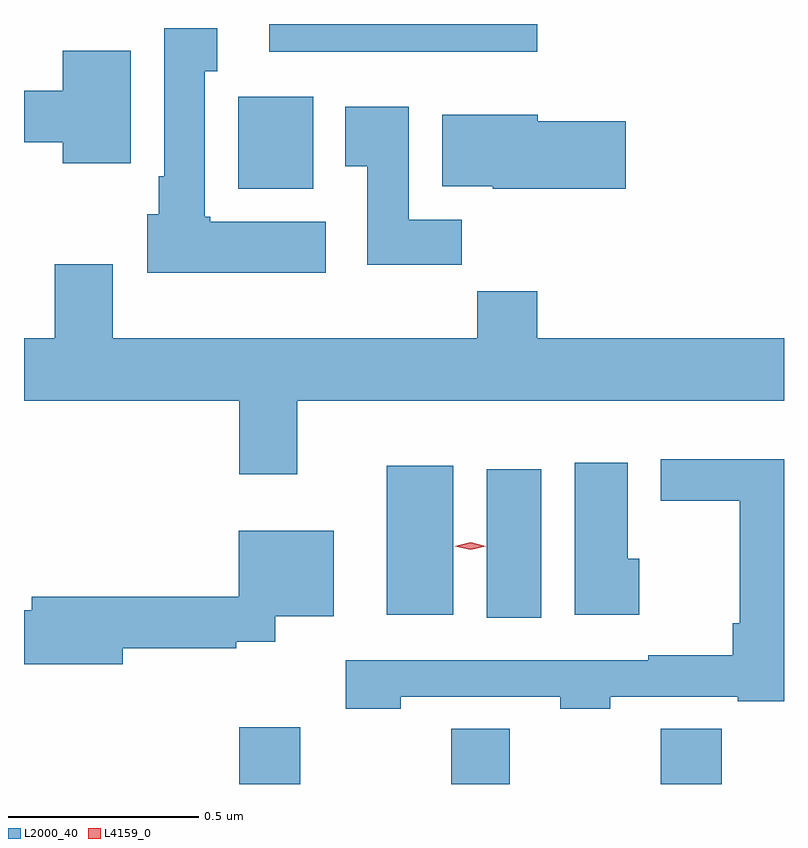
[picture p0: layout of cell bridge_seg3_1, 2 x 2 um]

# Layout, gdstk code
import gdstk
lib = gdstk.Library(unit=1e-6, precision=1e-09)
def R(c, l, rs):  # rectangles x0, y0, x1, y1
    for r in rs: c.add(gdstk.rectangle(r[:2], r[2:], *l))
def P(c, l, *ps):  # polygons
    for p in ps: c.add(gdstk.Polygon(p, *l))
L2000_40 = (2000, 40)
L4159_0 = (4159, 0)

bridge_seg3_1 = lib.new_cell('bridge_seg3_1')
R(bridge_seg3_1, L2000_40, [(1018.955,733.207,1019.115,733.357), (1019.512,733.207,1019.666,733.352), (1020.064,733.207,1020.224,733.352), (1019.606,733.644,1019.749,734.035), (1019.342,733.652,1019.518,734.044), (1018.952,734.774,1019.149,735.016), (1019.033,735.134,1019.738,735.207)])
P(bridge_seg3_1, L2000_40, [(1019.182,734.686),(1018.878,734.686),(1018.878,734.7),(1018.864,734.7),(1018.864,735.083),(1018.897,735.083),(1018.897,735.196),(1018.757,735.196),(1018.757,734.806),(1018.742,734.806),(1018.742,734.706),(1018.712,734.706),(1018.712,734.552),(1019.182,734.552)],
  [(1018.669,735.136),(1018.49,735.136),(1018.49,735.032),(1018.388,735.032),(1018.388,734.896),(1018.49,734.896),(1018.49,734.84),(1018.669,734.84)],
  [(1019.54,734.692),(1019.401,734.692),(1019.401,734.989),(1019.234,734.989),(1019.234,734.833),(1019.291,734.833),(1019.291,734.574),(1019.54,734.574)],
  [(1019.971,734.951),(1019.74,734.951),(1019.74,734.968),(1019.489,734.968),(1019.489,734.78),(1019.622,734.78),(1019.622,734.774),(1019.971,734.774)],
  [(1019.107,734.216),(1020.388,734.216),(1020.388,734.38),(1019.738,734.38),(1019.738,734.504),(1019.581,734.504),(1019.581,734.38),(1018.621,734.38),(1018.621,734.575),(1018.469,734.575),(1018.469,734.38),(1018.388,734.38),(1018.388,734.216),(1018.955,734.216),(1018.955,734.022),(1019.107,734.022)],
  [(1019.379,733.437),(1019.799,733.437),(1019.799,733.405),(1019.931,733.405),(1019.931,733.437),(1020.266,733.437),(1020.266,733.425),(1020.388,733.425),(1020.388,734.062),(1020.063,734.062),(1020.063,733.953),(1020.272,733.953),(1020.272,733.63),(1020.253,733.63),(1020.253,733.546),(1020.031,733.546),(1020.031,733.533),(1019.235,733.533),(1019.235,733.405),(1019.379,733.405)],
  [(1020.007,733.8),(1019.977,733.8),(1019.977,734.053),(1019.837,734.053),(1019.837,733.652),(1020.007,733.652)],
  [(1018.648,733.564),(1018.946,733.564),(1018.946,733.582),(1019.049,733.582),(1019.049,733.649),(1019.203,733.649),(1019.203,733.873),(1018.953,733.873),(1018.953,733.7),(1018.409,733.7),(1018.409,733.664),(1018.388,733.664),(1018.388,733.522),(1018.648,733.522)])
P(bridge_seg3_1, L4159_0, [(1019.563,733.823),(1019.522,733.833),(1019.522,733.833),(1019.522,733.833),(1019.563,733.843),(1019.603,733.833),(1019.603,733.833),(1019.603,733.833)])

lib.write_gds('bridge_seg3_1.gds')
